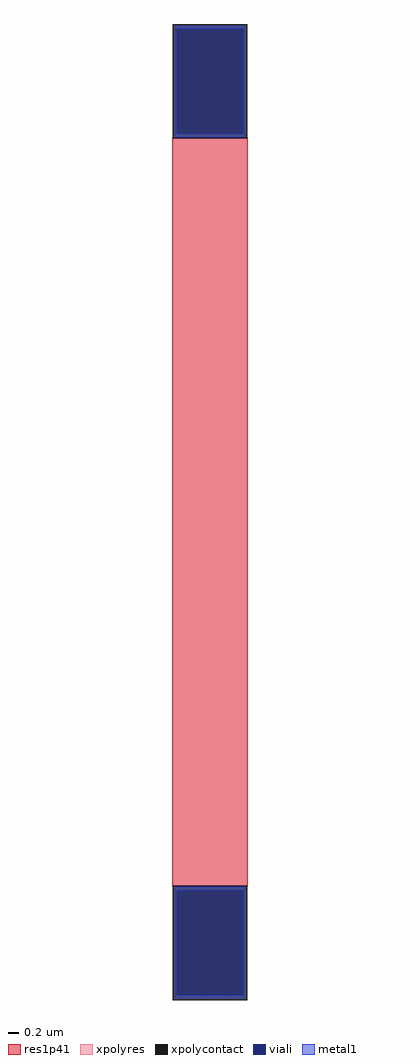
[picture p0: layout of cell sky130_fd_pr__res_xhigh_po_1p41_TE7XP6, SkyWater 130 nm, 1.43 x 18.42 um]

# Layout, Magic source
magic
tech sky130A
magscale 1 2
<< xpolycontact >>
rect -141 1410 141 1842
rect -141 -1842 141 -1410
<< xpolyres >>
rect -141 -1410 141 1410
<< viali >>
rect -125 1427 125 1824
rect -125 -1824 125 -1427
<< metal1 >>
rect -131 1824 131 1836
rect -131 1427 -125 1824
rect 125 1427 131 1824
rect -131 1415 131 1427
rect -131 -1427 131 -1415
rect -131 -1824 -125 -1427
rect 125 -1824 131 -1427
rect -131 -1836 131 -1824
<< res1p41 >>
rect -143 -1412 143 1412
<< properties >>
string gencell sky130_fd_pr__res_xhigh_po_1p41
string library sky130
string parameters w 1.41 l 14.1 m 1 nx 1 wmin 1.410 lmin 0.50 rho 2000 val 20.266k dummy 0 dw 0.0 term 188.2 sterm 0.0 caplen 0 wmax 1.410 guard 0 glc 1 grc 1 gtc 1 gbc 1 compatible {sky130_fd_pr__res_xhigh_po_0p35  sky130_fd_pr__res_xhigh_po_0p69 sky130_fd_pr__res_xhigh_po_1p41  sky130_fd_pr__res_xhigh_po_2p85 sky130_fd_pr__res_xhigh_po_5p73} snake 0 full_metal 0 n_guard 0 hv_guard 0 vias 1 viagb 0 viagt 0 viagl 0 viagr 0
<< end >>
